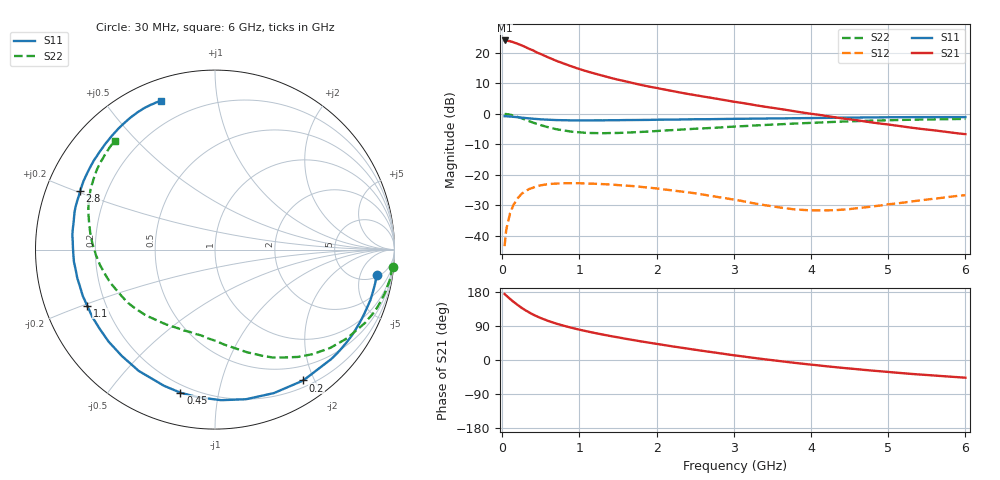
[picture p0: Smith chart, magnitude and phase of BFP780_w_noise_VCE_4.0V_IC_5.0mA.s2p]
! Infineon Technologies  Discrete & RF Semiconductors
! BFP780
! VCE =  4.0 V,  IC =  5.0 mA
! Common Emitter S-Parameters:  Jul 2015
# GHz  S  MA  R  50
!  f  S11  S21  S12  S22
! GHz  MAG  ANG  MAG  ANG  MAG  ANG  MAG  ANG
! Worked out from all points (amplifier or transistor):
!   75 points, 30 MHz to 6 GHz, reference 50 ohm
!   highest |S21| = 24.1 dB at 30 MHz (marker M1)
!   |S21| within 3 dB of that: start of sweep to 372 MHz
!   unconditionally stable (mu >= 1): 2.819 GHz to end of sweep
!   at 150 MHz: K = 0.04, MSG = 26.6 dB, |S12| = -29.7 dB
!   at 2.3 GHz: K = 0.68, MSG = 16.2 dB, |S12| = -25.5 dB
!   at 6 GHz: K = 1.64, MAG = 5.3 dB, |S12| = -26.7 dB
!   lowest NFmin = 0.72 dB at 450 MHz
!   S11 on the Smith chart (normalised r, x): 30 MHz: 5, -9; 200 MHz: 0.29, -1.85; 450 MHz: 0.16, -0.77; 1.1 GHz: 0.13, -0.21; 2.8 GHz: 0.10, +0.21; 6 GHz: 0.09, +0.70
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0.03  0.9123 -9.1  15.99 174.2  0.0067 86.4  0.9946 -5.5
0.07  0.9068 -20.9  15.84 166.6  0.0163 78.7  0.9812 -12.6
0.13  0.8946 -38.0  15.21 156.1  0.0286 66.2  0.9451 -22.9
0.2  0.8795 -56.0  14.07 145.1  0.041 56.6  0.8869 -33.8
0.25  0.8641 -67.7  13.3 137.7  0.0484 50.2  0.8445 -40.4
0.3  0.8514 -78.3  12.47 131.2  0.0536 43.7  0.7976 -46.9
0.35  0.8396 -87.7  11.61 125.3  0.0583 38.3  0.7549 -52.4
0.4  0.828 -96.6  10.96 119.8  0.0613 33.4  0.7148 -57.2
0.45  0.8202 -103.6  10.14 115.1  0.0648 29.0  0.6813 -61.9
0.5  0.81 -110.6  9.549 110.6  0.0669 25.3  0.65 -65.7
0.6  0.7984 -122.1  8.388 102.7  0.0702 18.5  0.5982 -72.8
0.7  0.7879 -131.2  7.41 96.0  0.0714 13.0  0.5575 -79.1
0.9  0.7794 -145.6  5.982 84.9  0.0725 4.0  0.5085 -89.6
1.1  0.7774 -156.3  4.957 75.5  0.0716 -3.2  0.484 -99.2
1.5  0.7842 -171.7  3.627 59.7  0.0675 -14.2  0.4841 -115.1
1.8  0.7915 179.3  2.973 49.0  0.063 -20.6  0.5037 -126.3
2.1  0.8006 171.7  2.504 39.3  0.0572 -26.2  0.5311 -136.0
2.8  0.8194 156.5  1.746 18.3  0.0428 -32.9  0.5936 -157.8
3.1  0.8279 150.6  1.513 9.9  0.0371 -32.9  0.6249 -166.6
4.1  0.8535 133.2  0.963 -14.3  0.026 -8.6  0.7175 167.9
5.1  0.8783 119.5  0.641 -33.3  0.0336 14.3  0.7883 147.9
6  0.8825 110.0  0.463 -46.7  0.0461 16.6  0.824 132.6
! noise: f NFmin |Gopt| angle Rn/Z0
0.45  0.72  0.3  88  0.11
0.9  0.88  0.34  112  0.11
1.5  1.2  0.46  153  0.07
1.8  1.51  0.5  166  0.06
2.4  1.86  0.56  -178  0.08
3  2.44  0.62  -161  0.14
3.5  3.41  0.66  -147  0.29
